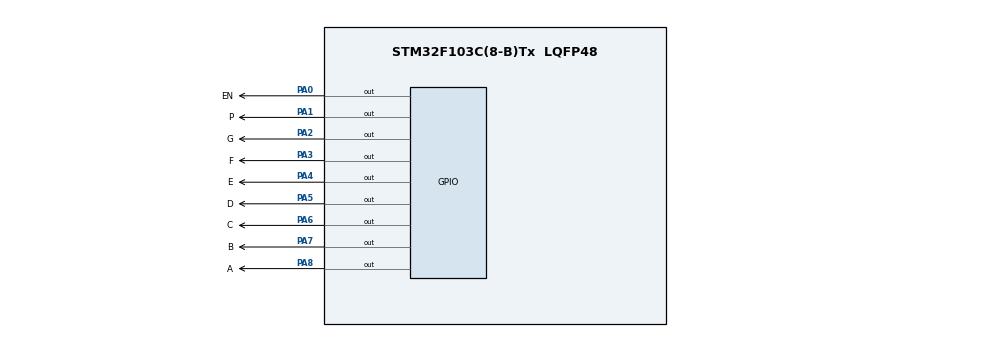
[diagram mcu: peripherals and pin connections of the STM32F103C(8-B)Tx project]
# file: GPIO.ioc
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Mcu.Family=STM32F1
Mcu.Name=STM32F103C(8-B)Tx
Mcu.Package=LQFP48
NVIC.PriorityGroup=NVIC_PRIORITYGROUP_4
PA0-WKUP.GPIO_Label=EN
PA0-WKUP.Signal=GPIO_Output
PA1.GPIO_Label=P
PA1.Signal=GPIO_Output
PA2.GPIO_Label=G
PA2.Signal=GPIO_Output
PA3.GPIO_Label=F
PA3.Signal=GPIO_Output
PA4.GPIO_Label=E
PA4.Signal=GPIO_Output
PA5.GPIO_Label=D
PA5.Signal=GPIO_Output
PA6.GPIO_Label=C
PA6.Signal=GPIO_Output
PA7.GPIO_Label=B
PA7.Signal=GPIO_Output
PA8.GPIO_Label=A
PA8.Signal=GPIO_Output
PD0-OSC_IN.Mode=HSE-External-Oscillator
PD0-OSC_IN.Signal=RCC_OSC_IN
PD1-OSC_OUT.Mode=HSE-External-Oscillator
PD1-OSC_OUT.Signal=RCC_OSC_OUT
ProjectManager.HeapSize=0x200
ProjectManager.StackSize=0x400
ProjectManager.TargetToolchain=STM32CubeIDE
RCC.APB1Freq_Value=8000000
RCC.APB2Freq_Value=8000000
RCC.PLLSourceVirtual=RCC_PLLSOURCE_HSE
RCC.USBFreq_Value=16000000
VP_SYS_VS_ND.Mode=No_Debug
board=custom

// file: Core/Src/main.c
/* USER CODE BEGIN Header */
/**
  ******************************************************************************
  * @file           : main.c
  * @brief          : Main program body
  ******************************************************************************
  * @attention
  *
  * Copyright (c) 2025 STMicroelectronics.
  * All rights reserved.
  *
  * This software is licensed under terms that can be found in the LICENSE file
  * in the root directory of this software component.
  * If no LICENSE file comes with this software, it is provided AS-IS.
  *
  ******************************************************************************
  */
/* USER CODE END Header */
#include "main.h"

/* USER CODE BEGIN PV */
static uint8_t L7S_CC[] = {0x3F,0x06,0x5B,0x4F,0x66,0x6D,0x7D,0x07,0x7F,0x6F,0x77,0x7C,0x39,0x5E,0x79,0x71};
/* USER CODE END PV */

void SystemClock_Config(void);
static void MX_GPIO_Init(void);

/* USER CODE BEGIN 0 */
void Display(uint8_t x)
{
	uint8_t code = L7S_CC[x];

	HAL_GPIO_WritePin(GPIOA, P_Pin, (code << 0) & 0x80);
	HAL_GPIO_WritePin(GPIOA, G_Pin, (code << 1) & 0x80);
	HAL_GPIO_WritePin(GPIOA, F_Pin, (code << 2) & 0x80);
	HAL_GPIO_WritePin(GPIOA, E_Pin, (code << 3) & 0x80);
	HAL_GPIO_WritePin(GPIOA, D_Pin, (code << 4) & 0x80);
	HAL_GPIO_WritePin(GPIOA, C_Pin, (code << 5) & 0x80);
	HAL_GPIO_WritePin(GPIOA, B_Pin, (code << 6) & 0x80);
	HAL_GPIO_WritePin(GPIOA, A_Pin, (code << 7) & 0x80);

}
/* USER CODE END 0 */

int main(void)
{

  /* USER CODE BEGIN 1 */
	HAL_GPIO_WritePin(GPIOA, EN_Pin, GPIO_PIN_RESET);
  /* USER CODE END 1 */

  /* MCU Configuration--------------------------------------------------------*/

  /* Reset of all peripherals, Initializes the Flash interface and the Systick. */
  HAL_Init();

  /* Configure the system clock */
  SystemClock_Config();

  /* Initialize all configured peripherals */
  MX_GPIO_Init();

  /* Infinite loop */
  /* USER CODE BEGIN WHILE */
  while (1)
  {
	  for (uint8_t i = 0; i < 16; i++)
	  {
		  Display(i);
		  HAL_Delay(1000);
	  }
    /* USER CODE END WHILE */

  }
}

void SystemClock_Config(void)
{
  RCC_OscInitTypeDef RCC_OscInitStruct = {0};
  RCC_ClkInitTypeDef RCC_ClkInitStruct = {0};

  /** Initializes the RCC Oscillators according to the specified parameters
  * in the RCC_OscInitTypeDef structure.
  */
  RCC_OscInitStruct.OscillatorType = RCC_OSCILLATORTYPE_HSI;
  RCC_OscInitStruct.HSIState = RCC_HSI_ON;
  RCC_OscInitStruct.HSICalibrationValue = RCC_HSICALIBRATION_DEFAULT;
  RCC_OscInitStruct.PLL.PLLState = RCC_PLL_NONE;
  if (HAL_RCC_OscConfig(&RCC_OscInitStruct) != HAL_OK)
  {
    Error_Handler();
  }

  /** Initializes the CPU, AHB and APB buses clocks
  */
  RCC_ClkInitStruct.ClockType = RCC_CLOCKTYPE_HCLK|RCC_CLOCKTYPE_SYSCLK
                              |RCC_CLOCKTYPE_PCLK1|RCC_CLOCKTYPE_PCLK2;
  RCC_ClkInitStruct.SYSCLKSource = RCC_SYSCLKSOURCE_HSI;
  RCC_ClkInitStruct.AHBCLKDivider = RCC_SYSCLK_DIV1;
  RCC_ClkInitStruct.APB1CLKDivider = RCC_HCLK_DIV1;
  RCC_ClkInitStruct.APB2CLKDivider = RCC_HCLK_DIV1;

  if (HAL_RCC_ClockConfig(&RCC_ClkInitStruct, FLASH_LATENCY_0) != HAL_OK)
  {
    Error_Handler();
  }
}

static void MX_GPIO_Init(void)
{
  GPIO_InitTypeDef GPIO_InitStruct = {0};

  /* GPIO Ports Clock Enable */
  __HAL_RCC_GPIOD_CLK_ENABLE();
  __HAL_RCC_GPIOA_CLK_ENABLE();

  /*Configure GPIO pin Output Level */
  HAL_GPIO_WritePin(GPIOA, EN_Pin|P_Pin|G_Pin|F_Pin
                          |E_Pin|D_Pin|C_Pin|B_Pin
                          |A_Pin, GPIO_PIN_RESET);

  /*Configure GPIO pins : EN_Pin P_Pin G_Pin F_Pin
                           E_Pin D_Pin C_Pin B_Pin
                           A_Pin */
  GPIO_InitStruct.Pin = EN_Pin|P_Pin|G_Pin|F_Pin
                          |E_Pin|D_Pin|C_Pin|B_Pin
                          |A_Pin;
  GPIO_InitStruct.Mode = GPIO_MODE_OUTPUT_PP;
  GPIO_InitStruct.Pull = GPIO_NOPULL;
  GPIO_InitStruct.Speed = GPIO_SPEED_FREQ_LOW;
  HAL_GPIO_Init(GPIOA, &GPIO_InitStruct);

}

void Error_Handler(void)
{
  __disable_irq();
  while (1)
  {
  }
}
